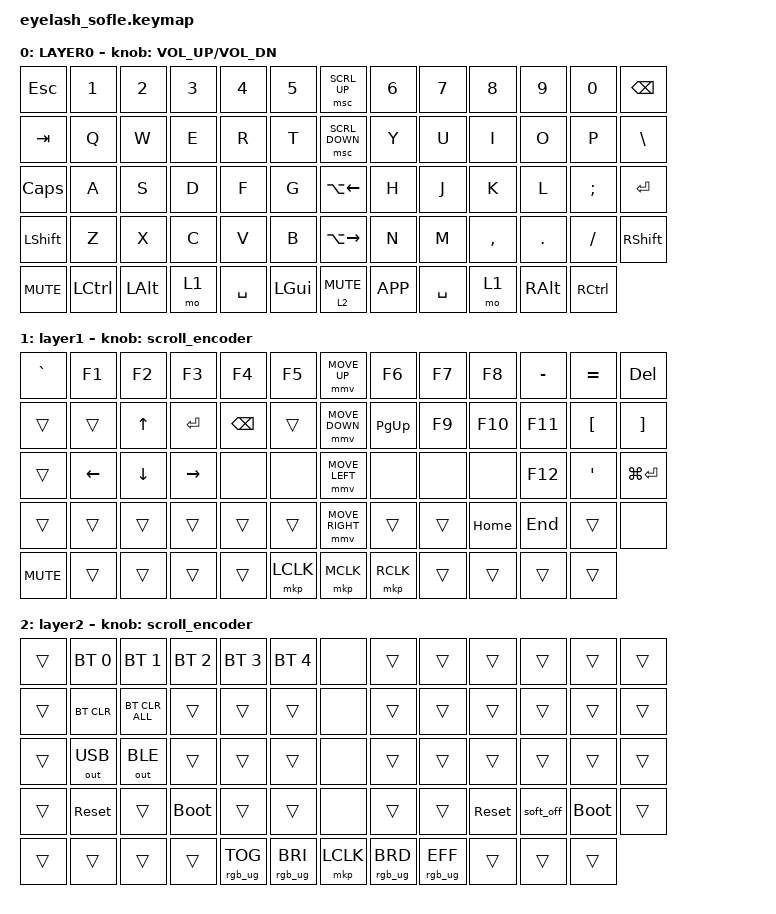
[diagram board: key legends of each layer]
#define ZMK_POINTING_DEFAULT_MOVE_VAL 1200  // 600
#define ZMK_POINTING_DEFAULT_SCRL_VAL 25   // 10

#include <input/processors.dtsi>
#include <zephyr/dt-bindings/input/input-event-codes.h>
#include <behaviors.dtsi>
#include <dt-bindings/zmk/bt.h>
#include <dt-bindings/zmk/keys.h>
#include <dt-bindings/zmk/outputs.h>
#include <dt-bindings/zmk/pointing.h>
#include <dt-bindings/zmk/rgb.h>

&mmv_input_listener { input-processors = <&zip_xy_scaler 2 1>; };

&msc_input_listener { input-processors = <&zip_scroll_scaler 2 1>; };

&msc {
    acceleration-exponent = <1>;      // 0
    time-to-max-speed-ms = <100>;       // 300
    delay-ms = <0>;                   // 0
};

&mmv {
    time-to-max-speed-ms = <500>;
    acceleration-exponent = <1>;
    trigger-period-ms = <16>;
};

&soft_off { hold-time-ms = <2000>; };

/ {
    scroll_encoder: scroll_encoder {
        compatible = "zmk,behavior-sensor-rotate";
        #sensor-binding-cells = <0>;
        bindings = <&msc SCRL_DOWN>, <&msc SCRL_UP>;

        tap-ms = <100>;
    };

    behaviors {
    };

    combos {
        compatible = "zmk,combos";

        softoff {
            bindings = <&soft_off>;
            key-positions = <14 28 40>;
        };
    };

    keymap {
        compatible = "zmk,keymap";

        layer0 {
            bindings = <
&kp ESC     &kp N1     &kp N2        &kp N3  &kp N4     &kp N5          &msc SCRL_UP    &kp N6     &kp N7     &kp N8     &kp N9         &kp N0             &kp BACKSPACE
&kp TAB     &kp Q      &kp W         &kp E   &kp R      &kp T           &msc SCRL_DOWN  &kp Y      &kp U      &kp I      &kp O          &kp P              &kp BSLH
&kp CAPS    &kp A      &kp S         &kp D   &kp F      &kp G           &kp LA(LEFT)    &kp H      &kp J      &kp K      &kp L          &kp SEMI           &kp ENTER
&kp LSHFT   &kp Z      &kp X         &kp C   &kp V      &kp B           &kp LA(RIGHT)   &kp N      &kp M      &kp COMMA  &kp DOT        &kp FSLH           &kp RIGHT_SHIFT
&kp C_MUTE  &kp LCTRL  &kp LEFT_ALT  &mo 1   &kp SPACE  &kp LEFT_GUI    &lt 2 C_MUTE    &kp K_APP  &kp SPACE  &mo 1      &kp RIGHT_ALT  &kp RIGHT_CONTROL
            >;

            sensor-bindings = <&inc_dec_kp C_VOLUME_UP C_VOL_DN>;
            display-name = "LAYER0";
        };

        layer_1 {
            bindings = <
&kp GRAVE   &kp F1    &kp F2    &kp F3     &kp F4         &kp F5       &mmv MOVE_UP     &kp F6       &kp F7  &kp F8    &kp MINUS  &kp EQUAL         &kp DELETE
&trans      &trans    &kp UP    &kp ENTER  &kp BACKSPACE  &trans       &mmv MOVE_DOWN   &kp PAGE_UP  &kp F9  &kp F10   &kp F11    &kp LEFT_BRACKET  &kp RIGHT_BRACKET
&trans      &kp LEFT  &kp DOWN  &kp RIGHT  &none          &none        &mmv MOVE_LEFT   &none        &none   &none     &kp F12    &kp SQT           &kp LG(ENTER)
&trans      &trans    &trans    &trans     &trans         &trans       &mmv MOVE_RIGHT  &trans       &trans  &kp HOME  &kp END    &trans            &none
&kp C_MUTE  &trans    &trans    &trans     &trans         &mkp LCLK    &mkp MCLK        &mkp RCLK    &trans  &trans    &trans     &trans
            >;

            display-name = "layer1";
            sensor-bindings = <&scroll_encoder>;
        };

        layer_2 {
            bindings = <
&trans  &bt BT_SEL 0  &bt BT_SEL 1    &bt BT_SEL 2  &bt BT_SEL 3     &bt BT_SEL 4       &none      &trans           &trans           &trans      &trans     &trans       &trans
&trans  &bt BT_CLR    &bt BT_CLR_ALL  &trans        &trans           &trans             &none      &trans           &trans           &trans      &trans     &trans       &trans
&trans  &out OUT_USB  &out OUT_BLE    &trans        &trans           &trans             &none      &trans           &trans           &trans      &trans     &trans       &trans
&trans  &sys_reset    &trans          &bootloader   &trans           &trans             &none      &trans           &trans           &sys_reset  &soft_off  &bootloader  &trans
&trans  &trans        &trans          &trans        &rgb_ug RGB_TOG  &rgb_ug RGB_BRI    &mkp LCLK  &rgb_ug RGB_BRD  &rgb_ug RGB_EFF  &trans      &trans     &trans
            >;

            display-name = "layer2";
            sensor-bindings = <&scroll_encoder>;
        };
    };
};
